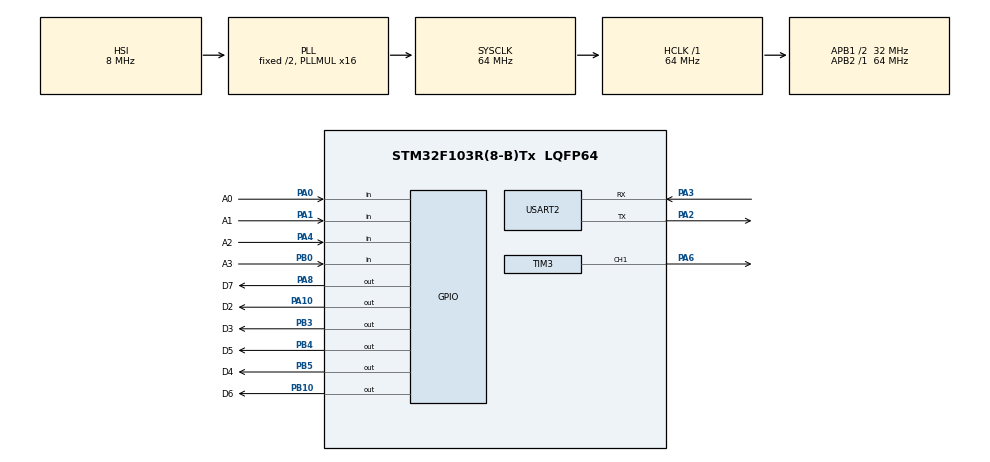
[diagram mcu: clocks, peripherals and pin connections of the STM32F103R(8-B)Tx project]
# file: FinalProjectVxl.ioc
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Mcu.Family=STM32F1
Mcu.Name=STM32F103R(8-B)Tx
Mcu.Package=LQFP64
NVIC.PriorityGroup=NVIC_PRIORITYGROUP_4
NVIC.TIM2_IRQn=true\:0\:0\:false\:false\:true\:true\:true
PA0-WKUP.GPIO_Label=A0
PA0-WKUP.GPIO_PuPd=GPIO_PULLUP
PA0-WKUP.Signal=GPIO_Input
PA1.GPIO_Label=A1
PA1.GPIO_PuPd=GPIO_PULLUP
PA1.Signal=GPIO_Input
PA10.GPIO_Label=D2
PA10.Signal=GPIO_Output
PA2.Mode=Asynchronous
PA2.Signal=USART2_TX
PA3.Mode=Asynchronous
PA3.Signal=USART2_RX
PA4.GPIO_Label=A2
PA4.GPIO_PuPd=GPIO_PULLUP
PA4.Signal=GPIO_Input
PA6.Signal=S_TIM3_CH1
PA8.GPIO_Label=D7
PA8.Signal=GPIO_Output
PB0.GPIO_Label=A3
PB0.GPIO_PuPd=GPIO_PULLUP
PB0.Signal=GPIO_Input
PB10.GPIO_Label=D6
PB10.Signal=GPIO_Output
PB3.GPIO_Label=D3
PB3.Signal=GPIO_Output
PB4.GPIO_Label=D5
PB4.Signal=GPIO_Output
PB5.GPIO_Label=D4
PB5.Signal=GPIO_Output
ProjectManager.HeapSize=0x200
ProjectManager.StackSize=0x400
ProjectManager.TargetToolchain=STM32CubeIDE
RCC.AHBFreq_Value=64000000
RCC.APB1CLKDivider=RCC_HCLK_DIV2
RCC.APB1Freq_Value=32000000
RCC.APB1TimFreq_Value=64000000
RCC.APB2Freq_Value=64000000
RCC.APB2TimFreq_Value=64000000
RCC.HCLKFreq_Value=64000000
RCC.PLLMUL=RCC_PLL_MUL16
RCC.SYSCLKFreq_VALUE=64000000
RCC.SYSCLKSource=RCC_SYSCLKSOURCE_PLLCLK
RCC.USBFreq_Value=64000000
SH.S_TIM3_CH1.0=TIM3_CH1,PWM Generation1 CH1
TIM2.Period=63
TIM2.Prescaler=9999
TIM3.Channel-PWM\ Generation1\ CH1=TIM_CHANNEL_1
TIM3.Period=100
TIM3.Prescaler=1799
USART2.VirtualMode=VM_ASYNC
VP_SYS_VS_ND.Mode=No_Debug
VP_TIM2_VS_ClockSourceINT.Mode=Internal
VP_TIM3_VS_ClockSourceINT.Mode=Internal
board=custom

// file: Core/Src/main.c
/* USER CODE BEGIN Header */
/**
  ******************************************************************************
  * @file           : main.c
  * @brief          : Main program body
  ******************************************************************************
  * @attention
  *
  * <h2><center>&copy; Copyright (c) 2023 STMicroelectronics.
  * All rights reserved.</center></h2>
  *
  * This software component is licensed by ST under BSD 3-Clause license,
  * the "License"; You may not use this file except in compliance with the
  * License. You may obtain a copy of the License at:
  *                        opensource.org/licenses/BSD-3-Clause
  *
  ******************************************************************************
  */
/* USER CODE END Header */
#include "main.h"

/* USER CODE BEGIN Includes */
#include "global.h"
/* USER CODE END Includes */

TIM_HandleTypeDef htim2;
TIM_HandleTypeDef htim3;

UART_HandleTypeDef huart2;

void SystemClock_Config(void);
static void MX_GPIO_Init(void);
static void MX_TIM2_Init(void);
static void MX_TIM3_Init(void);
static void MX_USART2_UART_Init(void);

/* USER CODE BEGIN 0 */
void wrapper(void) {
  timerRun(0); // led duration
  timerRun(1); //  7-segment counter 1s
  timerRun(3); // blinking led
  timerRun(8);
  timerRun(9); // blinking led
  getKeyInput(0);
  getKeyInput(1);
  getKeyInput(2);
  getKeyInput(3);
}
void HAL_TIM_PeriodElapsedCallback(TIM_HandleTypeDef *htim)
{
  if (htim->Instance == TIM2) {
    SCH_Update();
  }
}
/* USER CODE END 0 */

int main(void)
{

  /* MCU Configuration--------------------------------------------------------*/

  /* Reset of all peripherals, Initializes the Flash interface and the Systick. */
  HAL_Init();

  /* Configure the system clock */
  SystemClock_Config();

  /* Initialize all configured peripherals */
  MX_GPIO_Init();
  MX_TIM2_Init();
  MX_TIM3_Init();
  MX_USART2_UART_Init();
  /* USER CODE BEGIN 2 */
  SCH_Add_Task(wrapper, 0, 1);
  SCH_Add_Task(fsm_automatic_run, 0, 1);
  SCH_Add_Task(fsm_manual_run, 0, 1);
  /* USER CODE END 2 */

  /* Infinite loop */
  while (1)
  {

    /* USER CODE BEGIN 3 */
    SCH_Dispatch_Tasks();
  }
  /* USER CODE END 3 */
}

void SystemClock_Config(void)
{
  RCC_OscInitTypeDef RCC_OscInitStruct = {0};
  RCC_ClkInitTypeDef RCC_ClkInitStruct = {0};

  /** Initializes the RCC Oscillators according to the specified parameters
  * in the RCC_OscInitTypeDef structure.
  */
  RCC_OscInitStruct.OscillatorType = RCC_OSCILLATORTYPE_HSI;
  RCC_OscInitStruct.HSIState = RCC_HSI_ON;
  RCC_OscInitStruct.HSICalibrationValue = RCC_HSICALIBRATION_DEFAULT;
  RCC_OscInitStruct.PLL.PLLState = RCC_PLL_ON;
  RCC_OscInitStruct.PLL.PLLSource = RCC_PLLSOURCE_HSI_DIV2;
  RCC_OscInitStruct.PLL.PLLMUL = RCC_PLL_MUL16;
  if (HAL_RCC_OscConfig(&RCC_OscInitStruct) != HAL_OK)
  {
    Error_Handler();
  }
  /** Initializes the CPU, AHB and APB buses clocks
  */
  RCC_ClkInitStruct.ClockType = RCC_CLOCKTYPE_HCLK|RCC_CLOCKTYPE_SYSCLK
                              |RCC_CLOCKTYPE_PCLK1|RCC_CLOCKTYPE_PCLK2;
  RCC_ClkInitStruct.SYSCLKSource = RCC_SYSCLKSOURCE_PLLCLK;
  RCC_ClkInitStruct.AHBCLKDivider = RCC_SYSCLK_DIV1;
  RCC_ClkInitStruct.APB1CLKDivider = RCC_HCLK_DIV2;
  RCC_ClkInitStruct.APB2CLKDivider = RCC_HCLK_DIV1;

  if (HAL_RCC_ClockConfig(&RCC_ClkInitStruct, FLASH_LATENCY_2) != HAL_OK)
  {
    Error_Handler();
  }
}

static void MX_TIM2_Init(void)
{

  TIM_ClockConfigTypeDef sClockSourceConfig = {0};
  TIM_MasterConfigTypeDef sMasterConfig = {0};

  htim2.Instance = TIM2;
  htim2.Init.Prescaler = 9999;
  htim2.Init.CounterMode = TIM_COUNTERMODE_UP;
  htim2.Init.Period = 63;
  htim2.Init.ClockDivision = TIM_CLOCKDIVISION_DIV1;
  htim2.Init.AutoReloadPreload = TIM_AUTORELOAD_PRELOAD_DISABLE;
  if (HAL_TIM_Base_Init(&htim2) != HAL_OK)
  {
    Error_Handler();
  }
  sClockSourceConfig.ClockSource = TIM_CLOCKSOURCE_INTERNAL;
  if (HAL_TIM_ConfigClockSource(&htim2, &sClockSourceConfig) != HAL_OK)
  {
    Error_Handler();
  }
  sMasterConfig.MasterOutputTrigger = TIM_TRGO_RESET;
  sMasterConfig.MasterSlaveMode = TIM_MASTERSLAVEMODE_DISABLE;
  if (HAL_TIMEx_MasterConfigSynchronization(&htim2, &sMasterConfig) != HAL_OK)
  {
    Error_Handler();
  }

}

static void MX_TIM3_Init(void)
{

  TIM_ClockConfigTypeDef sClockSourceConfig = {0};
  TIM_MasterConfigTypeDef sMasterConfig = {0};
  TIM_OC_InitTypeDef sConfigOC = {0};

  htim3.Instance = TIM3;
  htim3.Init.Prescaler = 1799;
  htim3.Init.CounterMode = TIM_COUNTERMODE_UP;
  htim3.Init.Period = 100;
  htim3.Init.ClockDivision = TIM_CLOCKDIVISION_DIV1;
  htim3.Init.AutoReloadPreload = TIM_AUTORELOAD_PRELOAD_DISABLE;
  if (HAL_TIM_Base_Init(&htim3) != HAL_OK)
  {
    Error_Handler();
  }
  sClockSourceConfig.ClockSource = TIM_CLOCKSOURCE_INTERNAL;
  if (HAL_TIM_ConfigClockSource(&htim3, &sClockSourceConfig) != HAL_OK)
  {
    Error_Handler();
  }
  if (HAL_TIM_PWM_Init(&htim3) != HAL_OK)
  {
    Error_Handler();
  }
  sMasterConfig.MasterOutputTrigger = TIM_TRGO_RESET;
  sMasterConfig.MasterSlaveMode = TIM_MASTERSLAVEMODE_DISABLE;
  if (HAL_TIMEx_MasterConfigSynchronization(&htim3, &sMasterConfig) != HAL_OK)
  {
    Error_Handler();
  }
  sConfigOC.OCMode = TIM_OCMODE_PWM1;
  sConfigOC.Pulse = 0;
  sConfigOC.OCPolarity = TIM_OCPOLARITY_HIGH;
  sConfigOC.OCFastMode = TIM_OCFAST_DISABLE;
  if (HAL_TIM_PWM_ConfigChannel(&htim3, &sConfigOC, TIM_CHANNEL_1) != HAL_OK)
  {
    Error_Handler();
  }
  HAL_TIM_MspPostInit(&htim3);

}

static void MX_USART2_UART_Init(void)
{

  huart2.Instance = USART2;
  huart2.Init.BaudRate = 115200;
  huart2.Init.WordLength = UART_WORDLENGTH_8B;
  huart2.Init.StopBits = UART_STOPBITS_1;
  huart2.Init.Parity = UART_PARITY_NONE;
  huart2.Init.Mode = UART_MODE_TX_RX;
  huart2.Init.HwFlowCtl = UART_HWCONTROL_NONE;
  huart2.Init.OverSampling = UART_OVERSAMPLING_16;
  if (HAL_UART_Init(&huart2) != HAL_OK)
  {
    Error_Handler();
  }

}

static void MX_GPIO_Init(void)
{
  GPIO_InitTypeDef GPIO_InitStruct = {0};

  /* GPIO Ports Clock Enable */
  __HAL_RCC_GPIOA_CLK_ENABLE();
  __HAL_RCC_GPIOB_CLK_ENABLE();

  /*Configure GPIO pin Output Level */
  HAL_GPIO_WritePin(GPIOB, D6_Pin|D3_Pin|D5_Pin|D4_Pin, GPIO_PIN_RESET);

  /*Configure GPIO pin Output Level */
  HAL_GPIO_WritePin(GPIOA, D7_Pin|D2_Pin, GPIO_PIN_RESET);

  /*Configure GPIO pins : A0_Pin A1_Pin A2_Pin */
  GPIO_InitStruct.Pin = A0_Pin|A1_Pin|A2_Pin;
  GPIO_InitStruct.Mode = GPIO_MODE_INPUT;
  GPIO_InitStruct.Pull = GPIO_PULLUP;
  HAL_GPIO_Init(GPIOA, &GPIO_InitStruct);

  /*Configure GPIO pin : A3_Pin */
  GPIO_InitStruct.Pin = A3_Pin;
  GPIO_InitStruct.Mode = GPIO_MODE_INPUT;
  GPIO_InitStruct.Pull = GPIO_PULLUP;
  HAL_GPIO_Init(A3_GPIO_Port, &GPIO_InitStruct);

  /*Configure GPIO pins : D6_Pin D3_Pin D5_Pin D4_Pin */
  GPIO_InitStruct.Pin = D6_Pin|D3_Pin|D5_Pin|D4_Pin;
  GPIO_InitStruct.Mode = GPIO_MODE_OUTPUT_PP;
  GPIO_InitStruct.Pull = GPIO_NOPULL;
  GPIO_InitStruct.Speed = GPIO_SPEED_FREQ_LOW;
  HAL_GPIO_Init(GPIOB, &GPIO_InitStruct);

  /*Configure GPIO pins : D7_Pin D2_Pin */
  GPIO_InitStruct.Pin = D7_Pin|D2_Pin;
  GPIO_InitStruct.Mode = GPIO_MODE_OUTPUT_PP;
  GPIO_InitStruct.Pull = GPIO_NOPULL;
  GPIO_InitStruct.Speed = GPIO_SPEED_FREQ_LOW;
  HAL_GPIO_Init(GPIOA, &GPIO_InitStruct);

}

void Error_Handler(void)
{
  __disable_irq();
  while (1)
  {
  }
}

/************************ (C) COPYRIGHT STMicroelectronics *****END OF FILE****/
